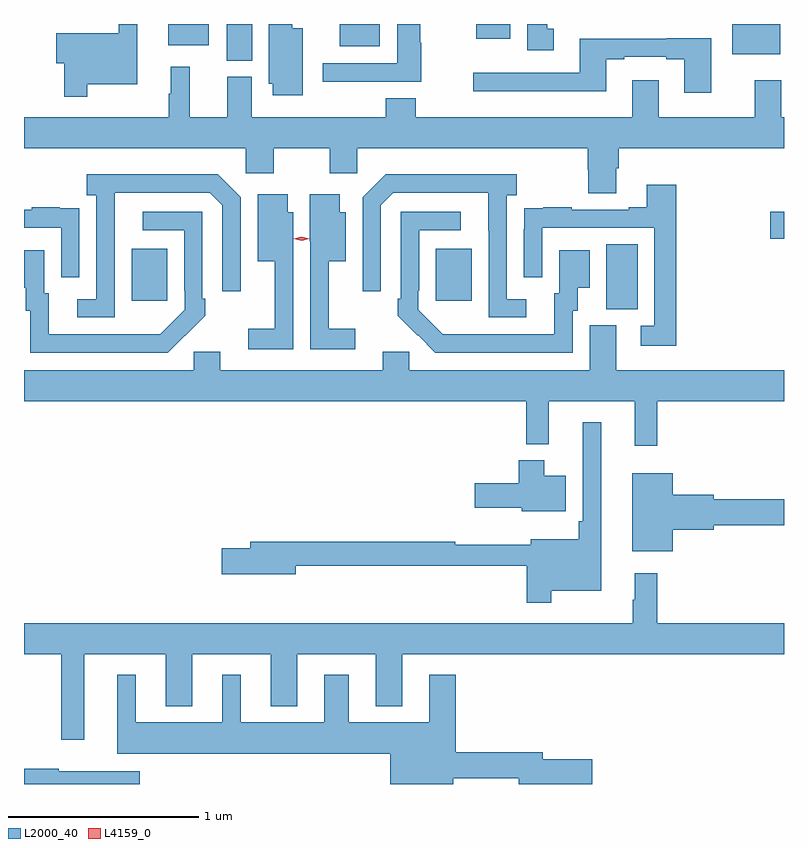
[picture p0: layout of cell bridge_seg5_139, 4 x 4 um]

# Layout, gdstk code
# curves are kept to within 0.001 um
import gdstk
lib = gdstk.Library(unit=1e-6, precision=1e-09)
def R(c, l, rs):  # rectangles x0, y0, x1, y1
    for r in rs: c.add(gdstk.rectangle(r[:2], r[2:], *l))
def P(c, l, *ps):  # polygons
    for p in ps: c.add(gdstk.Polygon(p, *l))
L2000_40 = (2000, 40)
L4159_0 = (4159, 0)

bridge_seg5_139 = lib.new_cell('bridge_seg5_139')
R(bridge_seg5_139, L2000_40, [(304.112,878.557,304.276,878.9), (301.613,878.601,301.801,878.875), (303.215,878.601,303.403,878.875), (304.974,878.927,305.047,879.069), (302.114,879.865,302.248,880.058), (304.775,879.899,305.026,880.058), (302.708,879.941,302.92,880.058), (301.805,879.947,302.02,880.058), (303.428,879.98,303.607,880.058)])
P(bridge_seg5_139, L2000_40, [(302.515,880.036),(302.458,880.036),(302.458,880.058),(302.336,880.058),(302.336,879.744),(302.357,879.744),(302.357,879.684),(302.515,879.684)],
  [(303.835,880.034),(303.802,880.034),(303.802,880.058),(303.695,880.058),(303.695,879.921),(303.835,879.921)],
  [(303.137,879.959),(303.132,879.959),(303.132,880.058),(303.011,880.058),(303.011,879.852),(302.619,879.852),(302.619,879.755),(303.137,879.755)],
  [(301.381,879.74),(301.642,879.74),(301.642,880.058),(301.545,880.058),(301.545,880.009),(301.218,880.009),(301.218,879.851),(301.26,879.851),(301.26,879.675),(301.381,879.675)],
  [(304.663,879.982),(304.431,879.982),(304.431,879.981),(303.971,879.981),(303.971,879.801),(303.411,879.801),(303.411,879.704),(304.111,879.704),(304.111,879.873),(304.207,879.873),(304.207,879.885),(304.427,879.885),(304.427,879.873),(304.523,879.873),(304.523,879.696),(304.663,879.696)],
  [(304.165,879.298),(304.178,879.298),(304.178,879.404),(305.047,879.404),(305.047,879.568),(305.032,879.568),(305.032,879.763),(304.892,879.763),(304.892,879.568),(304.387,879.568),(304.387,879.763),(304.247,879.763),(304.247,879.568),(303.11,879.568),(303.11,879.667),(302.95,879.667),(302.95,879.568),(302.245,879.568),(302.245,879.78),(302.117,879.78),(302.117,879.568),(301.919,879.568),(301.919,879.832),(301.82,879.832),(301.82,879.692),(301.809,879.692),(301.809,879.568),(301.047,879.568),(301.047,879.404),(302.214,879.404),(302.214,879.273),(302.361,879.273),(302.361,879.404),(302.656,879.404),(302.656,879.273),(302.802,879.273),(302.802,879.404),(304.013,879.404),(304.013,879.291),(304.018,879.291),(304.018,879.166),(304.165,879.166)],
  [(301.524,878.971),(301.525,879.171),(302.025,879.171),(302.091,879.105),(302.091,878.652),(302.187,878.652),(302.187,879.147),(302.066,879.268),(301.377,879.268),(301.377,879.158),(301.428,879.158),(301.428,878.61),(301.326,878.61),(301.326,878.514),(301.524,878.514)],
  [(303.691,878.61),(303.588,878.61),(303.588,879.158),(303.64,879.158),(303.64,879.268),(302.95,879.268),(302.829,879.147),(302.829,878.652),(302.925,878.652),(302.925,879.105),(302.991,879.171),(303.491,879.171),(303.492,878.514),(303.691,878.514)],
  [(304.481,879.211),(304.325,879.211),(304.325,879.094),(304.229,879.094),(304.229,879.081),(303.929,879.081),(303.929,879.094),(303.781,879.094),(303.781,879.087),(303.679,879.087),(303.679,878.978),(303.678,878.978),(303.678,878.724),(303.774,878.724),(303.774,878.985),(304.365,878.985),(304.365,878.469),(304.293,878.469),(304.293,878.364),(304.481,878.364)],
  [(302.463,879.067),(302.434,879.067),(302.434,879.163),(302.276,879.163),(302.276,878.81),(302.366,878.81),(302.366,878.455),(302.226,878.455),(302.226,878.346),(302.463,878.346)],
  [(302.791,878.455),(302.651,878.455),(302.651,878.81),(302.74,878.81),(302.74,879.067),(302.71,879.067),(302.71,879.163),(302.552,879.163),(302.552,878.914),(302.553,878.914),(302.553,878.346),(302.791,878.346)],
  [(301.338,878.978),(301.337,878.978),(301.337,879.087),(301.235,879.087),(301.235,879.094),(301.087,879.094),(301.087,879.081),(301.047,879.081),(301.047,878.985),(301.242,878.985),(301.242,878.724),(301.338,878.724)],
  [(303.936,878.55),(303.961,878.55),(303.961,878.669),(304.024,878.669),(304.024,878.866),(303.863,878.866),(303.863,878.64),(303.839,878.64),(303.839,878.424),(303.252,878.425),(303.123,878.553),(303.123,878.653),(303.126,878.653),(303.126,878.973),(303.346,878.973),(303.346,879.069),(303.03,879.069),(303.03,878.611),(303.015,878.611),(303.015,878.523),(303.212,878.328),(303.936,878.328)],
  [(301.895,878.419),(301.896,878.418),(302.001,878.523),(302.001,878.611),(301.986,878.611),(301.986,879.069),(301.671,879.069),(301.671,878.973),(301.89,878.973),(301.89,878.653),(301.893,878.653),(301.893,878.553),(301.765,878.425),(301.177,878.424),(301.177,878.64),(301.153,878.64),(301.153,878.866),(301.047,878.866),(301.047,878.669),(301.055,878.669),(301.055,878.55),(301.08,878.55),(301.08,878.328),(301.804,878.328)],
  [(304.379,878.072),(305.047,878.072),(305.047,878.236),(304.165,878.236),(304.165,878.472),(304.025,878.472),(304.025,878.236),(303.075,878.236),(303.075,878.334),(302.936,878.334),(302.936,878.236),(302.08,878.236),(302.08,878.334),(301.941,878.334),(301.941,878.236),(301.047,878.236),(301.047,878.072),(303.691,878.072),(303.691,877.847),(303.809,877.847),(303.809,878.072),(304.262,878.072),(304.262,877.839),(304.379,877.839)],
  [(303.823,877.076),(304.084,877.076),(304.084,877.963),(303.987,877.963),(303.987,877.441),(303.967,877.441),(303.967,877.345),(303.713,877.345),(303.713,877.316),(303.317,877.316),(303.317,877.334),(302.237,877.334),(302.237,877.298),(302.088,877.298),(302.088,877.163),(302.476,877.163),(302.476,877.206),(303.694,877.206),(303.694,877.011),(303.823,877.011)],
  [(303.898,877.681),(303.784,877.681),(303.784,877.762),(303.65,877.762),(303.65,877.641),(303.42,877.641),(303.42,877.511),(303.666,877.511),(303.666,877.493),(303.898,877.493)],
  [(304.462,877.397),(304.678,877.397),(304.678,877.42),(305.047,877.42),(305.047,877.556),(304.678,877.556),(304.678,877.58),(304.462,877.58),(304.462,877.693),(304.247,877.693),(304.247,877.283),(304.462,877.283)],
  [(301.363,876.74),(301.793,876.74),(301.793,876.467),(301.933,876.467),(301.933,876.74),(302.345,876.74),(302.345,876.467),(302.485,876.467),(302.485,876.74),(302.897,876.74),(302.897,876.467),(303.037,876.467),(303.037,876.74),(305.047,876.74),(305.047,876.904),(304.379,876.904),(304.379,877.168),(304.262,877.168),(304.262,877.028),(304.251,877.028),(304.251,876.904),(301.047,876.904),(301.047,876.74),(301.242,876.74),(301.242,876.291),(301.363,876.291)],
  [(303.307,876.088),(303.65,876.088),(303.65,876.058),(304.039,876.058),(304.039,876.188),(303.778,876.188),(303.778,876.224),(303.32,876.224),(303.32,876.634),(303.179,876.634),(303.179,876.382),(302.755,876.382),(302.755,876.634),(302.627,876.634),(302.627,876.382),(302.188,876.382),(302.188,876.634),(302.09,876.634),(302.09,876.382),(301.636,876.382),(301.636,876.634),(301.538,876.634),(301.538,876.218),(302.975,876.218),(302.975,876.058),(303.307,876.058)],
  [(301.657,876.124),(301.23,876.124),(301.23,876.137),(301.047,876.137),(301.047,876.058),(301.657,876.058)])
P(bridge_seg5_139, L4159_0, [(302.508,878.918),(302.466,878.927),(302.466,878.927),(302.466,878.927),(302.507,878.938),(302.548,878.928),(302.549,878.928),(302.548,878.928)])

lib.write_gds('bridge_seg5_139.gds')
